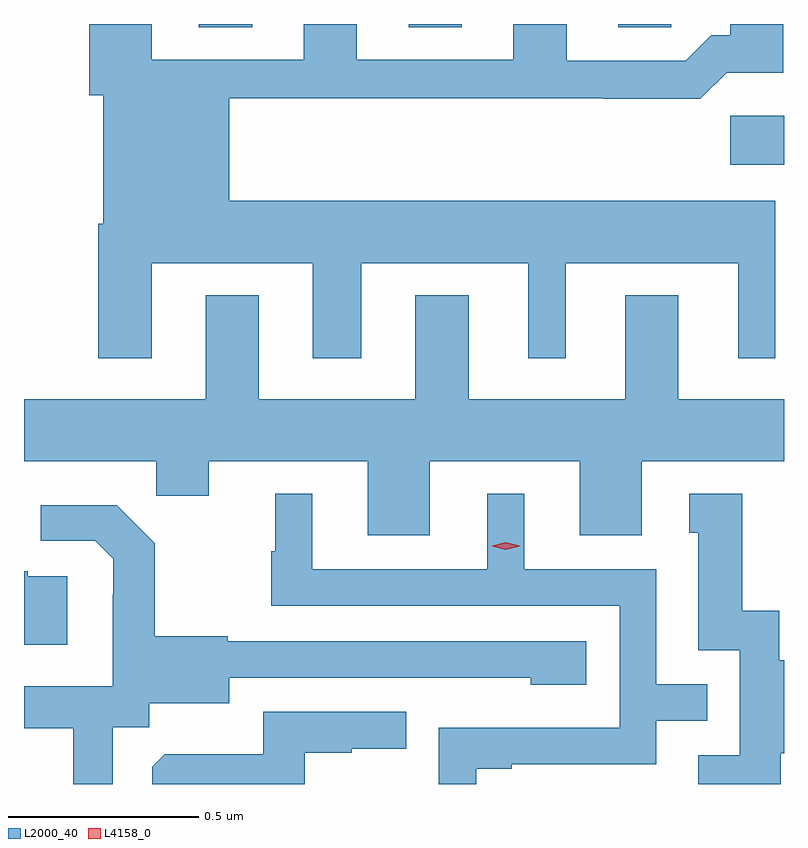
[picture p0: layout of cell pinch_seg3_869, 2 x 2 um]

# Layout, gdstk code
import gdstk
lib = gdstk.Library(unit=1e-6, precision=1e-09)
def R(c, l, rs):  # rectangles x0, y0, x1, y1
    for r in rs: c.add(gdstk.rectangle(r[:2], r[2:], *l))
def P(c, l, *ps):  # polygons
    for p in ps: c.add(gdstk.Polygon(p, *l))
L2000_40 = (2000, 40)
L4158_0 = (4158, 0)

pinch_seg3_869 = lib.new_cell('pinch_seg3_869')
R(pinch_seg3_869, L2000_40, [(737.814,685.712,737.955,685.841), (736.415,686.074,736.555,686.083), (736.967,686.074,737.107,686.083), (737.519,686.074,737.658,686.083)])
P(pinch_seg3_869, L2000_40, [(736.291,685.454),(736.715,685.454),(736.715,685.203),(736.843,685.203),(736.843,685.454),(737.282,685.454),(737.282,685.203),(737.38,685.203),(737.38,685.454),(737.834,685.454),(737.834,685.203),(737.932,685.203),(737.932,685.618),(736.495,685.618),(736.495,685.888),(737.479,685.888),(737.479,685.886),(737.735,685.886),(737.804,685.955),(737.953,685.955),(737.953,686.083),(737.813,686.083),(737.813,686.053),(737.764,686.053),(737.697,685.986),(737.383,685.986),(737.383,686.083),(737.243,686.083),(737.243,685.989),(736.831,685.989),(736.831,686.083),(736.691,686.083),(736.691,685.989),(736.291,685.989),(736.291,686.083),(736.127,686.083),(736.127,685.896),(736.163,685.896),(736.163,685.558),(736.151,685.558),(736.151,685.203),(736.291,685.203)],
  [(737.537,685.096),(737.125,685.096),(737.125,685.369),(736.985,685.369),(736.985,685.096),(736.573,685.096),(736.573,685.369),(736.433,685.369),(736.433,685.096),(735.955,685.096),(735.955,684.932),(736.303,684.932),(736.303,684.842),(736.441,684.842),(736.441,684.932),(736.859,684.932),(736.859,684.738),(737.023,684.738),(737.023,684.932),(737.417,684.932),(737.417,684.738),(737.581,684.738),(737.581,684.932),(737.955,684.932),(737.955,685.096),(737.677,685.096),(737.677,685.369),(737.537,685.369)],
  [(737.947,684.164),(737.955,684.164),(737.955,684.409),(737.943,684.409),(737.943,684.539),(737.845,684.539),(737.845,684.847),(737.705,684.847),(737.705,684.744),(737.729,684.744),(737.729,684.435),(737.838,684.435),(737.838,684.159),(737.729,684.159),(737.729,684.083),(737.947,684.083)],
  [(737.145,684.123),(737.239,684.123),(737.239,684.135),(737.619,684.135),(737.619,684.249),(737.753,684.249),(737.753,684.345),(737.619,684.345),(737.619,684.648),(737.272,684.648),(737.272,684.847),(737.174,684.847),(737.174,684.648),(736.714,684.648),(736.714,684.847),(736.616,684.847),(736.616,684.696),(736.605,684.696),(736.605,684.552),(737.523,684.552),(737.523,684.231),(737.046,684.231),(737.046,684.083),(737.145,684.083)],
  [(736.189,684.232),(736.284,684.232),(736.284,684.296),(736.495,684.296),(736.495,684.363),(737.053,684.363),(737.053,684.362),(737.289,684.362),(737.289,684.344),(737.434,684.344),(737.434,684.459),(736.491,684.459),(736.491,684.472),(736.299,684.472),(736.299,684.717),(736.199,684.817),(735.999,684.817),(735.999,684.723),(736.143,684.723),(736.19,684.676),(736.19,684.581),(736.188,684.581),(736.188,684.34),(735.955,684.34),(735.955,684.23),(736.085,684.23),(736.085,684.083),(736.189,684.083)],
  [(736.069,684.63),(735.965,684.63),(735.965,684.643),(735.955,684.643),(735.955,684.45),(736.069,684.45)],
  [(736.694,684.165),(736.817,684.165),(736.817,684.176),(736.961,684.176),(736.961,684.273),(736.584,684.273),(736.584,684.161),(736.325,684.161),(736.293,684.129),(736.293,684.083),(736.694,684.083)])
P(pinch_seg3_869, L4158_0, [(737.223,684.699),(737.187,684.709),(737.187,684.709),(737.187,684.71),(737.223,684.719),(737.259,684.71),(737.259,684.709),(737.259,684.709)])

lib.write_gds('pinch_seg3_869.gds')
